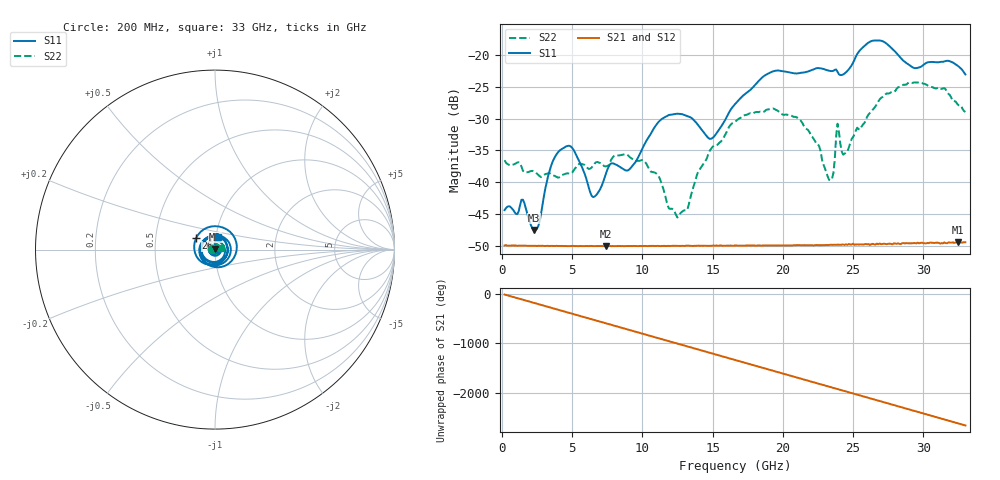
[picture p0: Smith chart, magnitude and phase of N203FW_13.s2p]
# GHZ S RI R 50
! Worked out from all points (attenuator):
!   329 points, 200 MHz to 33 GHz, reference 50 ohm
!   highest |S21| = -49.45 dB at 32.5 GHz (marker M1); lowest = -50.1 dB at 7.4 GHz (marker M2)
!   lowest |S11| = -47.5 dB at 2.3 GHz (marker M3), VSWR 1.01, Z = 50.1 + j0.396 ohm
!   |S11| at or under -10 dB: start of sweep to end of sweep
!   |S22| runs from -45.6 to -24.3 dB; largest |S21 - S12| = 8.8e-05
!   S11 on the Smith chart (normalised r, x): 200 MHz: 1.01, +0.00; 26 GHz: 0.80, +0.10; 33 GHz: 1.03, +0.14
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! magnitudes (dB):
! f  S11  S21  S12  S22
! 200 MHz  -44.4  -50.0  -49.9  -36.5
! 1.5 GHz  -42.8  -50.0  -50.0  -38.2
! 2.3 GHz  -47.5  -50.0  -50.0  -38.3
! 4 GHz  -35.3  -50.0  -50.0  -39.3
! 5.7 GHz  -37.6  -50.1  -50.0  -37.2
! 6.5 GHz  -42.3  -50.1  -50.0  -37.4
! 7.4 GHz  -38.7  -50.1  -50.0  -37.5
! 9.1 GHz  -37.9  -50.0  -50.0  -36.0
! 11.2 GHz  -30.4  -50.1  -50.0  -39.2
! 12.5 GHz  -29.2  -50.0  -50.0  -45.6
! 14.9 GHz  -33.2  -50.0  -50.0  -34.7
! 16.6 GHz  -27.7  -50.0  -50.0  -30.4
! 19.3 GHz  -22.6  -50.0  -50.0  -28.4
! 22.1 GHz  -22.3  -49.9  -49.9  -32.9
! 23.4 GHz  -22.5  -49.8  -49.9  -39.7
! 23.9 GHz  -22.6  -49.9  -49.9  -30.8
! 24.3 GHz  -23.0  -49.8  -49.8  -35.7
! 26 GHz  -18.2  -49.8  -49.7  -29.7
! 27.6 GHz  -18.6  -49.7  -49.7  -26.0
! 29.8 GHz  -21.9  -49.6  -49.7  -24.3
! 32.5 GHz  -21.7  -49.4  -49.4  -27.9
! 33 GHz  -23.0  -49.5  -49.5  -28.9
